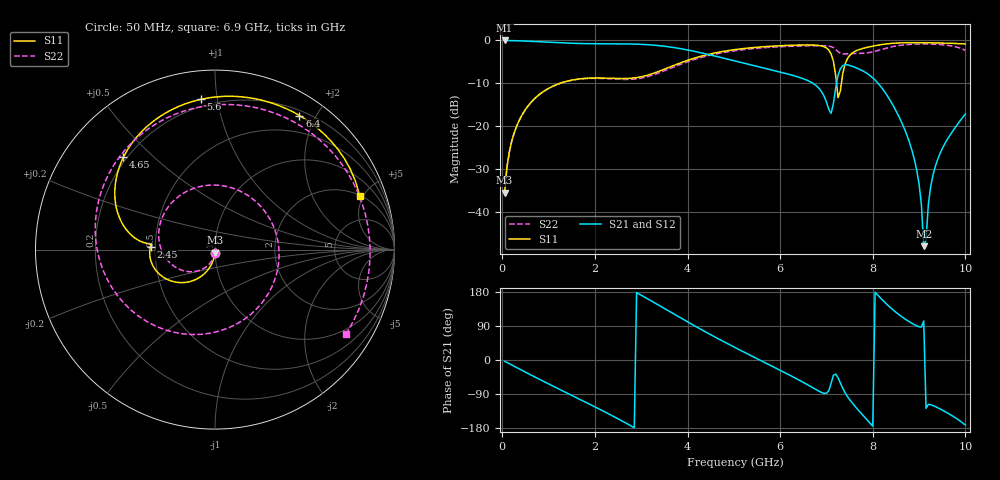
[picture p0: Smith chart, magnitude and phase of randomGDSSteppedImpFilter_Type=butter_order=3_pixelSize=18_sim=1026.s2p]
! freq	dB(S11)	phase(S11)	dB(S12)	phase(S12)
!  dB(S21)	phase(S21)	dB(S22)	phase(S22)
!S-par simulation data
#  GHz  S  DB  R 50
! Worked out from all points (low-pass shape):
!   200 points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, 50 MHz to 10 GHz, reference 50 ohm
!   highest |S21| = -0.01 dB at 50 MHz (marker M1); lowest = -48.0 dB at 9.1 GHz (marker M2)
!   |S21| within 3 dB of the highest: start of sweep to 4.339 GHz
!   lowest |S11| = -35.6 dB at 50 MHz (marker M3), VSWR 1.03, Z = 49.9 - j1.66 ohm
!   |S11| at or under -10 dB: start of sweep to 1.247 GHz; 7.217 GHz to 7.323 GHz (105.3 MHz wide, 1.45 % of centre)
!   |S22| runs from -35.6 to -0.8 dB; largest |S21 - S12| = 0
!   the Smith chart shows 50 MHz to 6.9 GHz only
!   S11 on the Smith chart (normalised r, x): 50 MHz: 1.00, -0.03; 2.45 GHz: 0.47, +0.02; 4.65 GHz: 0.19, +0.40; 5.6 GHz: 0.16, +0.90; 6.4 GHz: 0.26, +1.78; 6.9 GHz: 2.05, +4.71
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0.05  -35.58 -92.1  -0.01 -3.3  -0.01 -3.3  -35.59 -93.6
0.2  -23.70 -100.4  -0.04 -13.0  -0.04 -13.0  -23.72 -106.1
0.5  -16.12 -115.4  -0.15 -32.1  -0.15 -32.1  -16.15 -129.8
1.75  -8.88 -166.9  -0.73 -108.4  -0.73 -108.4  -8.94 129.1
2.45  -8.88 177.4  -0.79 -152.0  -0.79 -152.0  -9.04 58.0
3.4  -7.14 172.5  -1.24 143.0  -1.24 143.0  -7.50 -67.7
3.95  -4.84 160.1  -2.12 104.1  -2.12 104.1  -5.16 -133.3
4.65  -2.80 134.7  -3.80 56.9  -3.80 56.9  -3.07 157.8
5.05  -2.10 118.5  -4.86 31.4  -4.86 31.4  -2.35 123.0
5.6  -1.51 95.4  -6.32 -2.6  -6.32 -2.6  -1.73 78.0
6.4  -1.08 57.8  -8.57 -52.4  -8.57 -52.4  -1.30 13.6
6.7  -1.07 39.1  -9.96 -72.8  -9.96 -72.8  -1.24 -12.8
6.9  -1.31 20.4  -12.07 -86.1  -12.07 -86.1  -1.23 -32.8
7.15  -4.88 -38.0  -14.75 -40.2  -14.75 -40.2  -1.68 -64.7
7.3  -11.81 153.3  -6.59 -60.8  -6.59 -60.8  -3.00 -81.6
7.5  -3.52 72.4  -5.84 -104.6  -5.84 -104.6  -3.09 -104.8
7.9  -1.56 35.8  -7.88 -161.1  -7.88 -161.1  -2.88 176.2
8.35  -0.75 11.7  -13.54 141.6  -13.54 141.6  -1.64 80.1
8.9  -0.52 -14.0  -27.86 93.1  -27.86 93.1  -0.87 7.3
9.1  -0.53 -22.4  -48.03 103.0  -48.03 103.0  -0.83 -11.3
9.35  -0.57 -32.5  -29.42 -122.9  -29.42 -122.9  -0.90 -32.1
10  -0.84 -57.3  -17.17 -171.6  -17.17 -171.6  -2.32 -92.7
